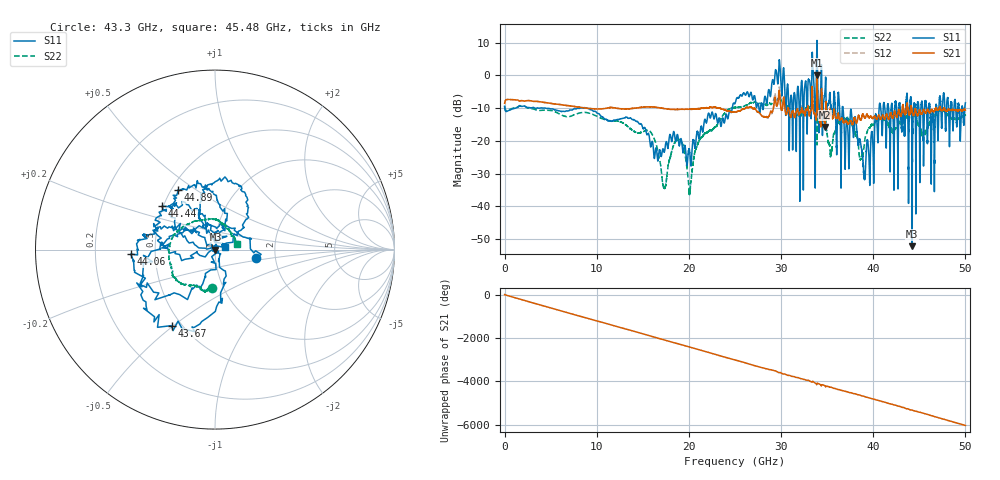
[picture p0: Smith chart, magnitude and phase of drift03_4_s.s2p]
!Created with skrf (http://scikit-rf.org).
# Hz S RI R 50.0
!freq ReS11 ImS11 ReS21 ImS21 ReS12 ImS12 ReS22 ImS22
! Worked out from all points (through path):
!   10001 points, 300 kHz to 50 GHz, reference 50 ohm
!   highest |S21| = 0.10 dB at 33.9 GHz (marker M1); lowest = -15.7 dB at 34.8 GHz (marker M2)
!   group delay of S21, straight-line fit = 335 ps
!   lowest |S11| = -52.1 dB at 44.23 GHz (marker M3), VSWR 1.00, Z = 50.2 + j0.0139 ohm
!   |S11| at or under -10 dB: 4.473 GHz to 7.92 GHz (3.447 GHz wide, 55.6 % of centre); 8.946 GHz to 24.7 GHz (15.75 GHz wide, 93.6 % of centre); 36.71 GHz to 40.64 GHz (3.922 GHz wide, 10.1 % of centre) (the widest 3 of 61)
!   |S22| runs from -36.5 to -6.0 dB; largest |S21 - S12| = 0.11
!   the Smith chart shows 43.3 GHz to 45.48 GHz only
!   S11 on the Smith chart (normalised r, x): 43.3 GHz: 1.58, -0.16; 43.67 GHz: 0.44, -0.49; 44.06 GHz: 0.36, -0.02; 44.44 GHz: 0.49, +0.28; 44.89 GHz: 0.54, +0.42; 45.48 GHz: 1.12, +0.03
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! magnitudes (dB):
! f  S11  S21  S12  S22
! 300 kHz  -9.4  -8.5  -8.4  -9.3
! 8.335 GHz  -9.9  -9.8  -9.8  -11.3
! 16.67 GHz  -25.6  -9.8  -9.8  -23.7
! 17.35 GHz  -23.1  -10.1  -10.1  -34.0
! 19.03 GHz  -20.7  -10.4  -10.4  -19.9
! 20.11 GHz  -23.7  -10.3  -10.3  -34.7
! 25 GHz  -8.6  -11.1  -11.1  -9.8
! 29.66 GHz  -2.5  -8.3  -8.4  -7.2
! 31.08 GHz  -6.1  -12.7  -12.7  -10.5
! 33.34 GHz  0.2  -7.8  -7.9  -9.5
! 33.9 GHz  10.5  0.1  -0.3  -18.6
! 34.8 GHz  -3.3  -15.7  -13.8  -14.6
! 39 GHz  -30.7  -12.6  -12.7  -21.8
! 41.67 GHz  -10.1  -13.4  -13.4  -15.3
! 43.3 GHz  -12.7  -10.3  -10.6  -13.3
! 43.67 GHz  -6.2  -8.4  -8.8  -12.9
! 44.06 GHz  -6.5  -10.6  -10.2  -11.2
! 44.23 GHz  -52.1  -11.3  -11.2  -11.6
! 44.44 GHz  -8.4  -12.0  -11.9  -12.1
! 44.89 GHz  -8.2  -12.0  -12.0  -14.8
! 45.48 GHz  -24.9  -10.4  -10.4  -17.8
! 50 GHz  -8.4  -10.5  -10.5  -12.1
